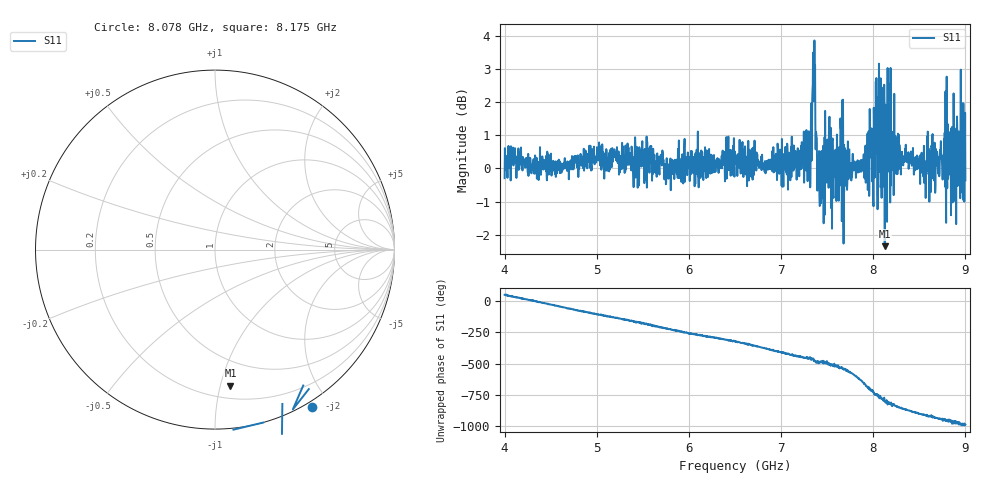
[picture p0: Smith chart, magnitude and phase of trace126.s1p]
! Created with skrf 1.8.0 (http://scikit-rf.org).
# Hz S RI R 50.0
!freq ReS11 ImS11
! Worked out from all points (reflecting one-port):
!   1601 points, 4 GHz to 9 GHz, reference 50 ohm
!   lowest |S11| = -2.3 dB at 8.125 GHz (marker M1), VSWR 7.45, Z = 14.8 - j53.8 ohm
!   phase of S11 starts at 53 deg and turns -1043 deg over the sweep
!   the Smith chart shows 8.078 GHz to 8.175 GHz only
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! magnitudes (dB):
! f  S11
! 4 GHz  -0.3
! 4.094 GHz  0.1
! 4.625 GHz  -0.1
! 5.25 GHz  -0.1
! 5.875 GHz  0.3
! 6.5 GHz  0.5
! 7.125 GHz  0.3
! 7.297 GHz  0.0
! 7.312 GHz  0.7
! 7.347 GHz  3.5
! 7.366 GHz  2.3
! 7.397 GHz  -0.2
! 7.438 GHz  -0.7
! 7.503 GHz  0.9
! 7.578 GHz  0.5
! 7.647 GHz  1.2
! 7.703 GHz  -0.1
! 7.75 GHz  0.2
! 7.934 GHz  0.0
! 8.047 GHz  -1.2
! 8.066 GHz  -0.1
! 8.125 GHz  -2.3
! 8.162 GHz  0.2
! 8.216 GHz  1.1
! 8.375 GHz  0.3
! 8.553 GHz  -0.1
! 8.953 GHz  -0.7
! 9 GHz  -0.4
